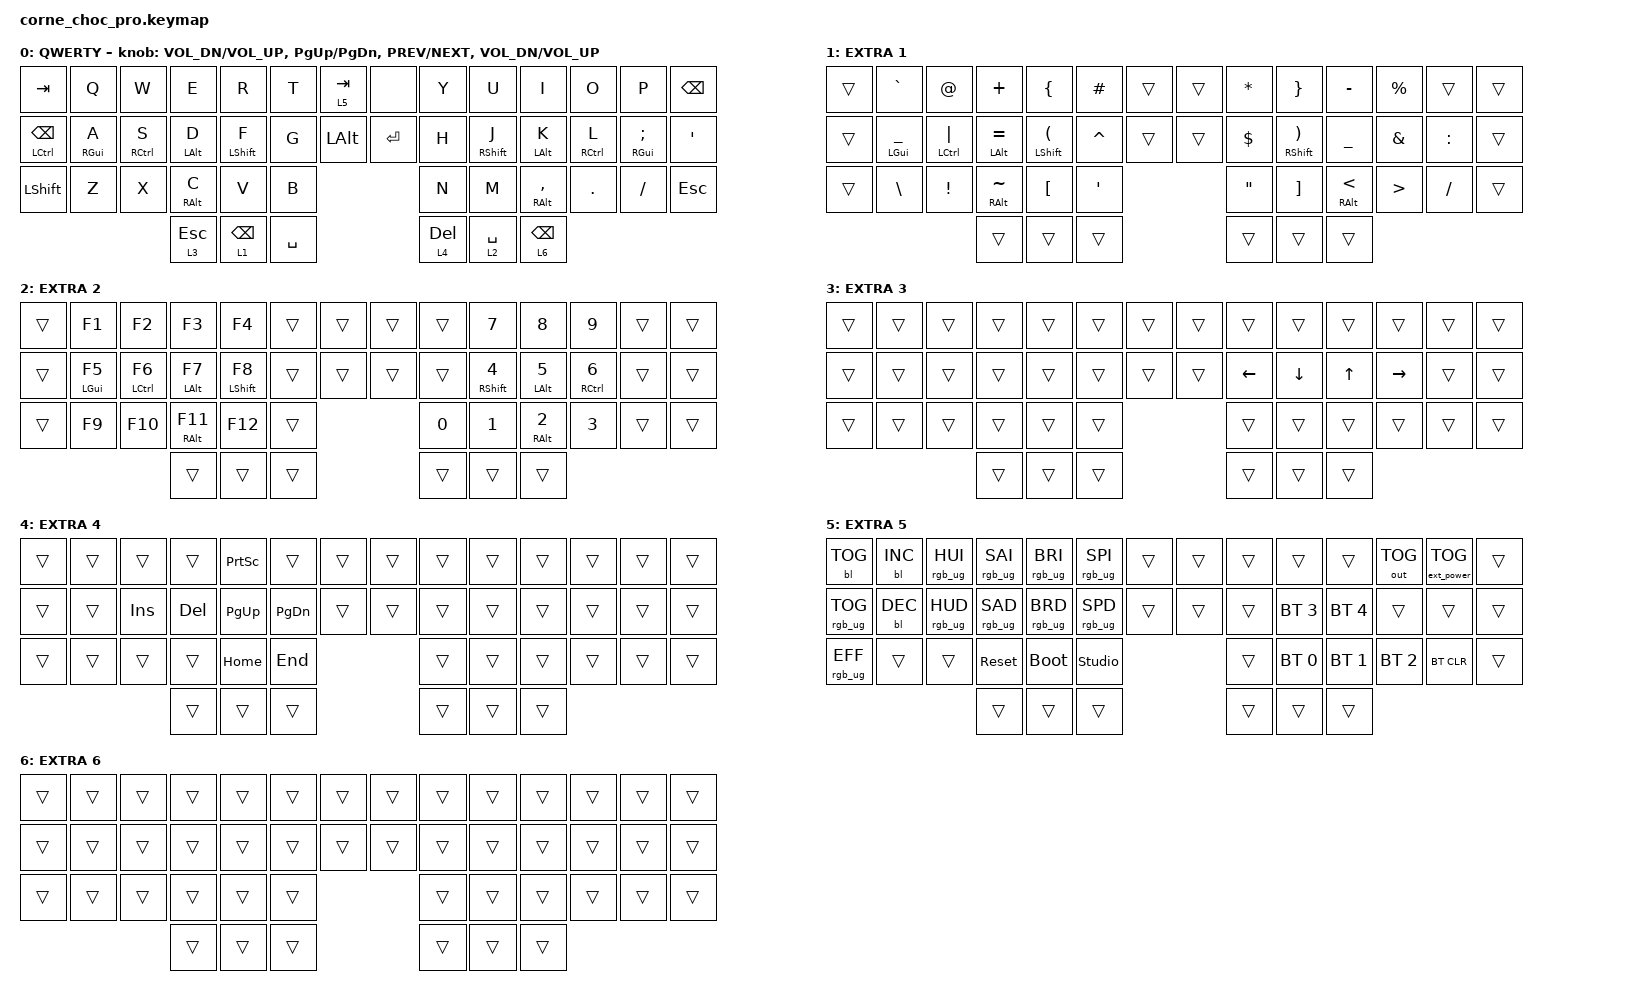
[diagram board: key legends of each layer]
/*
 * Copyright (c) 2020 The ZMK Contributors
 *
 * SPDX-License-Identifier: MIT
 */

#include <behaviors.dtsi>
#include <dt-bindings/zmk/backlight.h>
#include <dt-bindings/zmk/bt.h>
#include <dt-bindings/zmk/ext_power.h>
#include <dt-bindings/zmk/keys.h>
#include <dt-bindings/zmk/outputs.h>
#include <dt-bindings/zmk/rgb.h>

/ {
    chosen { zmk,physical-layout = &default_layout; };
};

/ {
    behaviors {
        hm: homerow_mods {
            compatible = "zmk,behavior-hold-tap";
            label = "HOMEROW_MODS";
            bindings = <&kp>, <&kp>;

            #binding-cells = <2>;
            tapping-term-ms = <200>;
            flavor = "tap-preferred";
        };

        hml: hml {
            compatible = "zmk,behavior-hold-tap";
            label = "HML";
            bindings = <&kp>, <&kp>;

            #binding-cells = <2>;
            tapping-term-ms = <200>;
            flavor = "tap-preferred";
        };

        hmr: hmr {
            compatible = "zmk,behavior-hold-tap";
            label = "HMR";
            bindings = <&kp>, <&kp>;

            #binding-cells = <2>;
            tapping-term-ms = <200>;
            flavor = "tap-preferred";
        };
    };

    keymap {
        compatible = "zmk,keymap";

        default_layer {
            display-name = "QWERTY";

            // --------------------------------------------------------------------------------
            // |  TAB |  Q  |  W  |  E  |  R  |  T  |  MUTE |  PP   |  Y  |  U   |  I  |  O  |  P  | BSPC |
            // | CTRL |  A  |  S  |  D  |  F  |  G  |  LALT |  RALT |  H  |  J   |  K  |  L  |  ;  |  '   |
            // | SHFT |  Z  |  X  |  C  |  V  |  B  |               |  N  |  M   |  ,  |  .  |  /  | ESC  |
            //                    | GUI | LWR | SPC |               | ENT | RSE  | ALT |

            bindings = <
&kp TAB              &kp Q             &kp W                 &kp E             &kp R              &kp T      &lt 5 TAB  &none      &kp Y         &kp U               &kp I                 &kp O                 &kp P                &kp BSPC
&mt LCTRL BACKSPACE  &hml RIGHT_GUI A  &hml RIGHT_CONTROL S  &hml LEFT_ALT D   &hml LEFT_SHIFT F  &kp G      &kp LALT   &kp ENTER  &kp H         &hmr RIGHT_SHIFT J  &hmr LEFT_ALT K       &hmr RIGHT_CONTROL L  &hmr RIGHT_GUI SEMI  &kp SQT
&kp LSHFT            &kp Z             &kp X                 &hml RIGHT_ALT C  &kp V              &kp B                            &kp N         &kp M               &hmr RIGHT_ALT COMMA  &kp DOT               &kp FSLH             &kp ESC
                                                             &lt 3 ESCAPE      &lt 1 BACKSPACE    &kp SPACE                        &lt 4 DELETE  &lt 2 SPACE         &lt 6 BACKSPACE
            >;

            sensor-bindings = <&inc_dec_kp C_VOL_DN C_VOL_UP &inc_dec_kp PG_UP PG_DN &inc_dec_kp C_PREV C_NEXT &inc_dec_kp C_VOL_DN C_VOL_UP>;
        };

        symbol_layer {
            display-name = "EXTRA 1";
            bindings = <
&trans  &kp GRAVE                &kp AT_SIGN            &kp PLUS             &kp LEFT_BRACE                   &kp HASH   &trans  &trans  &kp ASTERISK       &kp RIGHT_BRACE                    &kp MINUS                &kp PERCENT       &trans     &trans
&trans  &hm LEFT_GUI UNDERSCORE  &hm LEFT_CONTROL PIPE  &hm LEFT_ALT EQUAL   &hm LEFT_SHIFT LEFT_PARENTHESIS  &kp CARET  &trans  &trans  &kp DOLLAR         &hm RIGHT_SHIFT RIGHT_PARENTHESIS  &kp UNDER                &kp AMPERSAND     &kp COLON  &trans
&trans  &kp BACKSLASH            &kp EXCLAMATION        &hm RIGHT_ALT TILDE  &kp LEFT_BRACKET                 &kp SQT                    &kp DOUBLE_QUOTES  &kp RIGHT_BRACKET                  &hm RIGHT_ALT LESS_THAN  &kp GREATER_THAN  &kp SLASH  &trans
                                                        &trans               &trans                           &trans                     &trans             &trans                             &trans
            >;
        };

        number_layer {
            display-name = "EXTRA 2";
            bindings = <
&trans  &kp F1           &kp F2               &kp F3             &kp F4             &trans  &trans  &trans  &trans        &kp N7                    &kp N8                  &kp N9                      &trans  &trans
&trans  &hm LEFT_GUI F5  &hm LEFT_CONTROL F6  &hm LEFT_ALT F7    &hm LEFT_SHIFT F8  &trans  &trans  &trans  &trans        &hm RIGHT_SHIFT NUMBER_4  &hm LEFT_ALT N5         &hm RIGHT_CONTROL NUMBER_6  &trans  &trans
&trans  &kp F9           &kp F10              &hm RIGHT_ALT F11  &kp F12            &trans                  &kp NUMBER_0  &kp NUMBER_1              &hm RIGHT_ALT NUMBER_2  &kp NUMBER_3                &trans  &trans
                                              &trans             &trans             &trans                  &trans        &trans                    &trans
            >;
        };

        arrows_layer {
            display-name = "EXTRA 3";
            bindings = <
&trans  &trans  &trans  &trans  &trans  &trans  &trans  &trans  &trans    &trans    &trans        &trans     &trans  &trans
&trans  &trans  &trans  &trans  &trans  &trans  &trans  &trans  &kp LEFT  &kp DOWN  &kp UP_ARROW  &kp RIGHT  &trans  &trans
&trans  &trans  &trans  &trans  &trans  &trans                  &trans    &trans    &trans        &trans     &trans  &trans
                        &trans  &trans  &trans                  &trans    &trans    &trans
            >;
        };

        others_layer {
            display-name = "EXTRA 4";
            bindings = <
&trans  &trans  &trans      &trans   &kp PRINTSCREEN  &trans         &trans  &trans  &trans  &trans  &trans  &trans  &trans  &trans
&trans  &trans  &kp INSERT  &kp DEL  &kp PAGE_UP      &kp PAGE_DOWN  &trans  &trans  &trans  &trans  &trans  &trans  &trans  &trans
&trans  &trans  &trans      &trans   &kp HOME         &kp END                        &trans  &trans  &trans  &trans  &trans  &trans
                            &trans   &trans           &trans                         &trans  &trans  &trans
            >;
        };

        keyboard_layer {
            display-name = "EXTRA 5";
            bindings = <
&bl BL_TOG       &bl BL_INC  &rgb_ug RGB_HUI  &rgb_ug RGB_SAI  &rgb_ug RGB_BRI  &rgb_ug RGB_SPI  &trans  &trans  &trans  &trans        &trans        &out OUT_TOG  &ext_power EP_TOG  &trans
&rgb_ug RGB_TOG  &bl BL_DEC  &rgb_ug RGB_HUD  &rgb_ug RGB_SAD  &rgb_ug RGB_BRD  &rgb_ug RGB_SPD  &trans  &trans  &trans  &bt BT_SEL 3  &bt BT_SEL 4  &trans        &trans             &trans
&rgb_ug RGB_EFF  &trans      &trans           &sys_reset       &bootloader      &studio_unlock                   &trans  &bt BT_SEL 0  &bt BT_SEL 1  &bt BT_SEL 2  &bt BT_CLR         &trans
                                              &trans           &trans           &trans                           &trans  &trans        &trans
            >;
        };

        extra_layer_6 {
            display-name = "EXTRA 6";
            bindings = <
&trans  &trans  &trans  &trans  &trans  &trans  &trans  &trans  &trans  &trans  &trans  &trans  &trans  &trans
&trans  &trans  &trans  &trans  &trans  &trans  &trans  &trans  &trans  &trans  &trans  &trans  &trans  &trans
&trans  &trans  &trans  &trans  &trans  &trans                  &trans  &trans  &trans  &trans  &trans  &trans
                        &trans  &trans  &trans                  &trans  &trans  &trans
            >;
        };
    };
};
